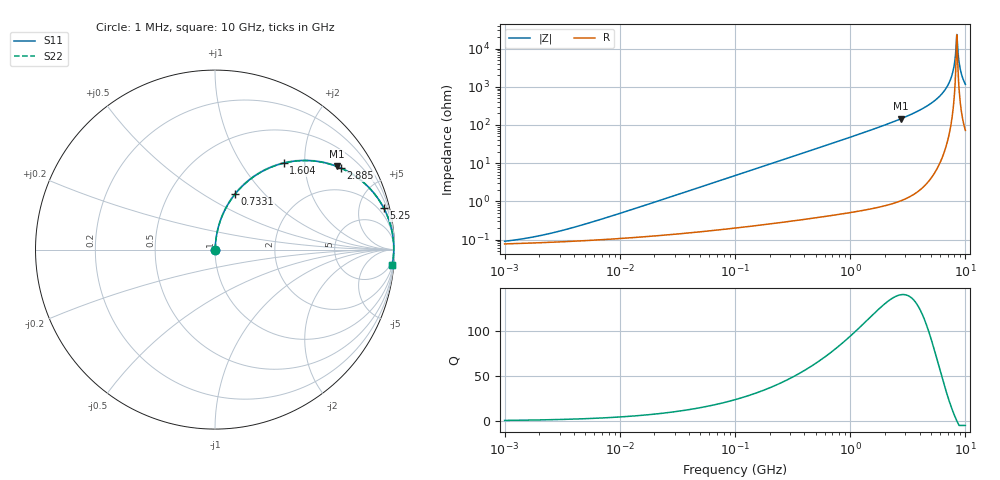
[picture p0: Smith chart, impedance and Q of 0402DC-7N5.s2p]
# MHz  S  MA  R  50
!Freq  MagS11  AngS11  MagS21  AngS21  MagS12  AngS12  MagS22  AngS22
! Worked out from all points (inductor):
!   801 points, 1 MHz to 10 GHz, reference 50 ohm
!   read as one part in series: L = 7.5 nH near 6.166 MHz
!   highest Q = 140 at 2.755 GHz (marker M1), where L = 8.4 nH
!   self-resonance near 8.418 GHz
!   S11 on the Smith chart (normalised r, x): 1 MHz: 1.00, +0.00; 733.1 MHz: 1.01, +0.70; 1.604 GHz: 1.01, +1.57; 2.885 GHz: 1.02, +3.08; 5.25 GHz: 1.10, +8.08; 10 GHz: 2, -23
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1  0.0008987 31.6  0.9992 -0.0  0.9992 -0.0  0.0008987 31.6
2.06545  0.001275 49.6  0.9992 -0.1  0.9992 -0.1  0.001275 49.6
4.67769  0.002388 67.1  0.9991 -0.1  0.9991 -0.1  0.002388 67.1
21.6303  0.01026 82.4  0.9987 -0.6  0.9987 -0.6  0.01026 82.4
100.0216  0.04704 84.9  0.9969 -2.7  0.9969 -2.7  0.04704 84.9
467.8699  0.2152 76.6  0.9731 -12.4  0.9731 -12.4  0.2152 76.6
733.0511  0.3275 70.2  0.9408 -19.1  0.9408 -19.1  0.3275 70.2
1603.8  0.6146 51.6  0.7837 -37.9  0.7837 -37.9  0.6146 51.6
2163.497  0.7346 42.3  0.6731 -47.3  0.6731 -47.3  0.7346 42.3
2755.251  0.8211 34.4  0.5649 -55.2  0.5649 -55.2  0.8211 34.4
2885.108  0.836 32.9  0.5429 -56.7  0.5429 -56.7  0.836 32.9
5250.182  0.968 13.9  0.2396 -75.5  0.2396 -75.5  0.968 13.9
6312.161  0.9862 8.4  0.1458 -80.4  0.1458 -80.4  0.9862 8.4
7164.414  0.9932 4.7  0.08191 -82.9  0.08191 -82.9  0.9932 4.7
7676.832  0.9952 2.7  0.04726 -82.8  0.04726 -82.8  0.9952 2.7
7855.657  0.9956 2.0  0.03576 -81.9  0.03576 -81.9  0.9956 2.0
8131.735  0.9959 1.0  0.01866 -76.7  0.01866 -76.7  0.9959 1.0
8417.515  0.9959 0.1  0.004243 -12.4  0.004243 -12.4  0.9959 0.1
8713.339  0.9955 -0.9  0.01695 74.2  0.01695 74.2  0.9955 -0.9
9019.56  0.9949 -1.9  0.034 80.4  0.034 80.4  0.9949 -1.9
9336.542  0.9939 -2.9  0.05122 81.7  0.05122 81.7  0.9939 -2.9
10000  0.991 -4.9  0.08556 81.5  0.08556 81.5  0.991 -4.9
